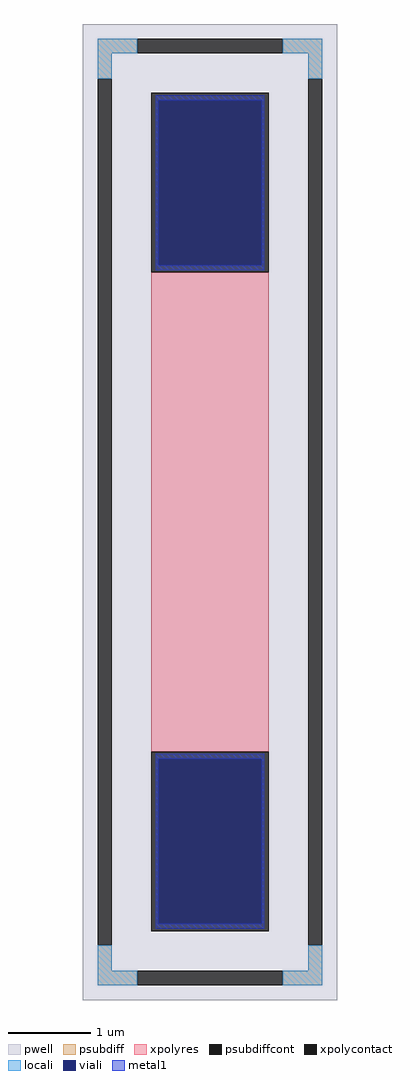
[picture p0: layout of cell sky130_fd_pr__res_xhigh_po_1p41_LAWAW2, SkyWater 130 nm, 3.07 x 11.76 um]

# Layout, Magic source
magic
tech sky130A
magscale 1 2
<< pwell >>
rect -307 -1176 307 1176
<< psubdiff >>
rect -271 1106 -175 1140
rect 175 1106 271 1140
rect -271 1044 -237 1106
rect 237 1044 271 1106
rect -271 -1106 -237 -1044
rect 237 -1106 271 -1044
rect -271 -1140 -175 -1106
rect 175 -1140 271 -1106
<< psubdiffcont >>
rect -175 1106 175 1140
rect -271 -1044 -237 1044
rect 237 -1044 271 1044
rect -175 -1140 175 -1106
<< xpolycontact >>
rect -141 578 141 1010
rect -141 -1010 141 -578
<< xpolyres >>
rect -141 -578 141 578
<< locali >>
rect -271 1106 -175 1140
rect 175 1106 271 1140
rect -271 1044 -237 1106
rect 237 1044 271 1106
rect -271 -1106 -237 -1044
rect 237 -1106 271 -1044
rect -271 -1140 -175 -1106
rect 175 -1140 271 -1106
<< viali >>
rect -125 595 125 992
rect -125 -992 125 -595
<< metal1 >>
rect -131 992 131 1004
rect -131 595 -125 992
rect 125 595 131 992
rect -131 583 131 595
rect -131 -595 131 -583
rect -131 -992 -125 -595
rect 125 -992 131 -595
rect -131 -1004 131 -992
<< properties >>
string FIXED_BBOX -254 -1123 254 1123
string gencell sky130_fd_pr__res_xhigh_po_1p41
string library sky130
string parameters w 1.410 l 5.935 m 1 nx 1 wmin 1.410 lmin 0.50 rho 2000 val 8.685k dummy 0 dw 0.0 term 188.2 sterm 0.0 caplen 0 wmax 1.410 guard 1 glc 1 grc 1 gtc 1 gbc 1 compatible {sky130_fd_pr__res_xhigh_po_0p35  sky130_fd_pr__res_xhigh_po_0p69 sky130_fd_pr__res_xhigh_po_1p41  sky130_fd_pr__res_xhigh_po_2p85 sky130_fd_pr__res_xhigh_po_5p73} snake 0 full_metal 1 n_guard 0 hv_guard 0 vias 1 viagb 0 viagt 0 viagl 0 viagr 0
<< end >>
